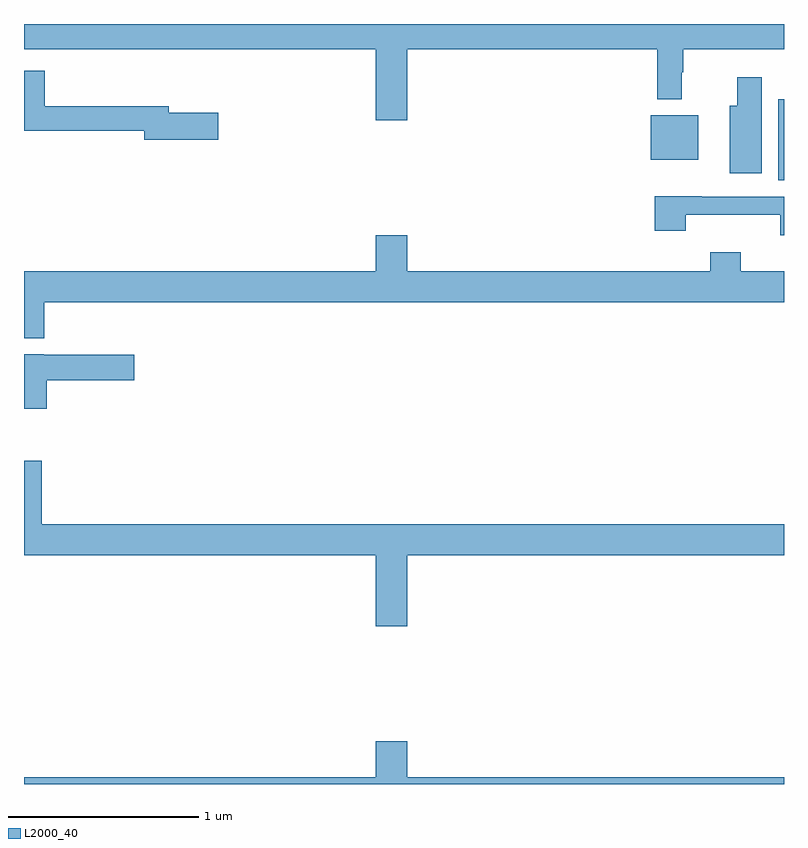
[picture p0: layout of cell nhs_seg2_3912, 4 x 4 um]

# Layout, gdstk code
import gdstk
lib = gdstk.Library(unit=1e-6, precision=1e-09)
def R(c, l, rs):  # rectangles x0, y0, x1, y1
    for r in rs: c.add(gdstk.rectangle(r[:2], r[2:], *l))
def P(c, l, *ps):  # polygons
    for p in ps: c.add(gdstk.Polygon(p, *l))
L2000_40 = (2000, 40)

nhs_seg2_3912 = lib.new_cell('nhs_seg2_3912')
R(nhs_seg2_3912, L2000_40, [(322.97,614.977,323,615.403), (322.298,615.086,322.549,615.319)])
P(nhs_seg2_3912, L2000_40, [(321.016,615.668),(322.333,615.668),(322.333,615.405),(322.462,615.405),(322.462,615.545),(322.469,615.545),(322.469,615.668),(323,615.668),(323,615.8),(319,615.8),(319,615.668),(320.852,615.668),(320.852,615.294),(321.016,615.294)],
  [(320.023,615.333),(319.762,615.333),(319.762,615.367),(319.108,615.367),(319.108,615.553),(319,615.553),(319,615.238),(319.634,615.238),(319.634,615.191),(320.023,615.191)],
  [(322.882,615.52),(322.753,615.52),(322.753,615.37),(322.715,615.37),(322.715,615.014),(322.882,615.014)],
  [(323,614.892),(322.567,614.892),(322.567,614.894),(322.319,614.894),(322.319,614.712),(322.484,614.712),(322.484,614.795),(322.98,614.795),(322.98,614.687),(323,614.687)],
  [(319.106,614.336),(323,614.336),(323,614.5),(322.773,614.5),(322.773,614.599),(322.613,614.599),(322.613,614.5),(321.016,614.5),(321.016,614.689),(320.852,614.689),(320.852,614.5),(319,614.5),(319,614.147),(319.106,614.147)],
  [(319.121,613.925),(319.579,613.925),(319.579,614.059),(319.104,614.059),(319.104,614.062),(319,614.062),(319,613.776),(319.121,613.776)],
  [(321.016,613.004),(323,613.004),(323,613.168),(319.094,613.168),(319.094,613.501),(319,613.501),(319,613.004),(320.852,613.004),(320.852,612.63),(321.016,612.63)],
  [(323,611.836),(321.016,611.836),(321.016,612.025),(320.852,612.025),(320.852,611.836),(319,611.836),(319,611.8),(323,611.8)])

lib.write_gds('nhs_seg2_3912.gds')
